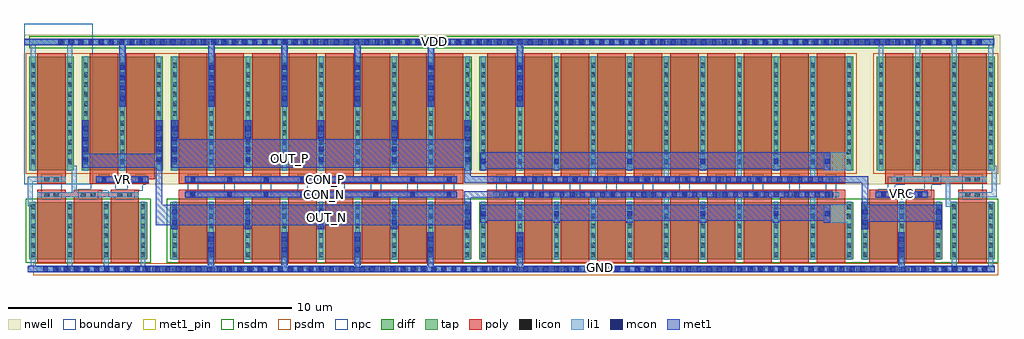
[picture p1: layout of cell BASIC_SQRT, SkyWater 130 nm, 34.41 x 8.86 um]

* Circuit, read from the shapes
.subckt BASIC_SQRT CON_N CON_P GND OUT_N OUT_P VDD VR VRC
XM1 GND VDD GND GND sky130_fd_pr__nfet_01v8 w=2 l=1 m=4
XM2 GND CON_N OUT_N GND sky130_fd_pr__nfet_01v8 w=2 l=1 m=8
XM3 GND OUT_N sky130_fd_pr__nfet_01v8_T8ZRRH_10/D0 GND sky130_fd_pr__nfet_01v8 w=2 l=1 m=2
XM4 OUT_N OUT_N sky130_fd_pr__nfet_01v8_T8ZRRH_10/D0 GND sky130_fd_pr__nfet_01v8 w=2 l=1 m=8
XM5 GND VRC OUT_P GND sky130_fd_pr__nfet_01v8 w=2 l=1 m=2
XM6 VDD GND VDD VDD sky130_fd_pr__pfet_01v8 w=4 l=1 m=4
XM7 VDD VR OUT_N VDD sky130_fd_pr__pfet_01v8 w=4 l=1 m=2
XM8 VDD CON_P OUT_P VDD sky130_fd_pr__pfet_01v8 w=4 l=1 m=8
XM9 VDD OUT_P sky130_fd_pr__pfet_01v8_2YLFS8_13/D0 VDD sky130_fd_pr__pfet_01v8 w=4 l=1 m=2
XM10 OUT_P OUT_P sky130_fd_pr__pfet_01v8_2YLFS8_13/D0 VDD sky130_fd_pr__pfet_01v8 w=4 l=1 m=8
.ends

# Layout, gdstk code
import gdstk
lib = gdstk.Library(unit=1e-6, precision=1e-09)
def R(c, l, rs):  # rectangles x0, y0, x1, y1
    for r in rs: c.add(gdstk.rectangle(r[:2], r[2:], *l))
def A(c, l, x, y, w, h, nx, ny, dx, dy):  # array of equal rectangles
    R(c, l, [(x+i*dx, y+j*dy, x+i*dx+w, y+j*dy+h) for i in range(nx) for j in range(ny)])
nwell = (64, 20)
diff = (65, 20)
tap = (65, 44)
poly = (66, 20)
licon = (66, 44)
li1 = (67, 20)
mcon = (67, 44)
met1_pin = (68, 16)
met1 = (68, 20)
nsdm = (93, 44)
psdm = (94, 20)
npc = (95, 20)
boundary = (235, 4)

sky130_fd_pr__pfet_01v8_ = lib.new_cell('sky130_fd_pr__pfet_01v8_399BBT')

sky130_fd_pr__nfet_01v8_ = lib.new_cell('sky130_fd_pr__nfet_01v8_GLJZMY')

c_sky130_fd_pr__nfet_01v8_ = lib.new_cell('sky130_fd_pr__nfet_01v8_YC5E7B')
R(c_sky130_fd_pr__nfet_01v8_, diff, [(-5.305,-1.155,5.305,0.845)])
A(c_sky130_fd_pr__nfet_01v8_, poly, -5.015, -1.285, 1, 2.405, 8, 1, 1.29, 0)
A(c_sky130_fd_pr__nfet_01v8_, poly, -4.805, 1.12, 0.58, 0.165, 8, 1, 1.29, 0)
A(c_sky130_fd_pr__nfet_01v8_, licon, -5.245, -1.09, 0.17, 0.17, 9, 6, 1.29, 0.34)
A(c_sky130_fd_pr__nfet_01v8_, licon, -4.6, 1.035, 0.17, 0.17, 8, 1, 1.29, 0)
A(c_sky130_fd_pr__nfet_01v8_, li1, -5.245, -1.175, 0.17, 2.04, 9, 1, 1.29, 0)
A(c_sky130_fd_pr__nfet_01v8_, li1, -4.805, 1.035, 0.58, 0.17, 8, 1, 1.29, 0)
A(c_sky130_fd_pr__nfet_01v8_, mcon, -3.955, -0.9, 0.17, 0.17, 4, 2, 2.58, 0.36)
A(c_sky130_fd_pr__nfet_01v8_, mcon, -5.245, 0.06, 0.17, 0.17, 5, 2, 2.58, 0.36)
A(c_sky130_fd_pr__nfet_01v8_, mcon, -4.6, 1.035, 0.17, 0.17, 8, 1, 1.29, 0)
A(c_sky130_fd_pr__nfet_01v8_, met1, -3.985, -1.07, 0.23, 0.87, 4, 1, 2.58, 0)
A(c_sky130_fd_pr__nfet_01v8_, met1, -5.275, -0.11, 0.23, 0.87, 5, 1, 2.58, 0)
A(c_sky130_fd_pr__nfet_01v8_, met1, -4.785, 1.005, 0.54, 0.23, 8, 1, 1.29, 0)
R(c_sky130_fd_pr__nfet_01v8_, nsdm, [(-5.43,-1.28,5.43,0.97)])
A(c_sky130_fd_pr__nfet_01v8_, npc, -4.7, 0.935, 0.37, 0.37, 8, 1, 1.29, 0)
c_sky130_fd_pr__nfet_01v8_.add(gdstk.Label('D0', (-5.16,-0.155), layer=67, texttype=5))
c_sky130_fd_pr__nfet_01v8_.add(gdstk.Label('G0', (-4.515,1.12), layer=67, texttype=5))
c_sky130_fd_pr__nfet_01v8_.add(gdstk.Label('S1', (-3.87,-0.155), layer=67, texttype=5))
c_sky130_fd_pr__nfet_01v8_.add(gdstk.Label('G1', (-3.225,1.12), layer=67, texttype=5))
c_sky130_fd_pr__nfet_01v8_.add(gdstk.Label('D2', (-2.58,-0.155), layer=67, texttype=5))
c_sky130_fd_pr__nfet_01v8_.add(gdstk.Label('G2', (-1.935,1.12), layer=67, texttype=5))
c_sky130_fd_pr__nfet_01v8_.add(gdstk.Label('S3', (-1.29,-0.155), layer=67, texttype=5))
c_sky130_fd_pr__nfet_01v8_.add(gdstk.Label('G3', (-0.645,1.12), layer=67, texttype=5))
c_sky130_fd_pr__nfet_01v8_.add(gdstk.Label('D4', (0,-0.155), layer=67, texttype=5))
c_sky130_fd_pr__nfet_01v8_.add(gdstk.Label('G4', (0.645,1.12), layer=67, texttype=5))
c_sky130_fd_pr__nfet_01v8_.add(gdstk.Label('S5', (1.29,-0.155), layer=67, texttype=5))
c_sky130_fd_pr__nfet_01v8_.add(gdstk.Label('G5', (1.935,1.12), layer=67, texttype=5))
c_sky130_fd_pr__nfet_01v8_.add(gdstk.Label('D6', (2.58,-0.155), layer=67, texttype=5))
c_sky130_fd_pr__nfet_01v8_.add(gdstk.Label('G6', (3.225,1.12), layer=67, texttype=5))
c_sky130_fd_pr__nfet_01v8_.add(gdstk.Label('S7', (3.87,-0.155), layer=67, texttype=5))
c_sky130_fd_pr__nfet_01v8_.add(gdstk.Label('G7', (4.515,1.12), layer=67, texttype=5))

c_sky130_fd_pr__pfet_01v8_ = lib.new_cell('sky130_fd_pr__pfet_01v8_24JSVR')
R(c_sky130_fd_pr__pfet_01v8_, nwell, [(-1.615,-2.32,1.615,2.49)])
R(c_sky130_fd_pr__pfet_01v8_, diff, [(-1.435,-1.82,1.435,2.18)])
R(c_sky130_fd_pr__pfet_01v8_, poly, [(-0.935,-2.305,-0.355,-2.14), (0.355,-2.305,0.935,-2.14), (-1.145,-2.14,-0.145,2.31), (0.145,-2.14,1.145,2.31)])
A(c_sky130_fd_pr__pfet_01v8_, licon, -1.375, -1.605, 0.17, 0.17, 3, 11, 1.29, 0.34)
R(c_sky130_fd_pr__pfet_01v8_, licon, [(-0.73,-2.225,-0.56,-2.055), (0.56,-2.225,0.73,-2.055)])
A(c_sky130_fd_pr__pfet_01v8_, li1, -1.375, -1.84, 0.17, 4.04, 3, 1, 1.29, 0)
R(c_sky130_fd_pr__pfet_01v8_, li1, [(-0.935,-2.225,-0.355,-2.055), (0.355,-2.225,0.935,-2.055)])
A(c_sky130_fd_pr__pfet_01v8_, mcon, -1.375, -1.525, 0.17, 0.17, 1, 4, 0, 0.36)
A(c_sky130_fd_pr__pfet_01v8_, mcon, 1.205, -1.525, 0.17, 0.17, 1, 4, 0, 0.36)
A(c_sky130_fd_pr__pfet_01v8_, mcon, -0.085, 0.635, 0.17, 0.17, 1, 4, 0, 0.36)
R(c_sky130_fd_pr__pfet_01v8_, mcon, [(-0.73,-2.225,-0.56,-2.055), (0.56,-2.225,0.73,-2.055)])
R(c_sky130_fd_pr__pfet_01v8_, met1, [(-0.915,-2.255,-0.375,-2.025), (0.375,-2.255,0.915,-2.025), (-1.405,-1.735,-1.175,-0.065), (1.175,-1.735,1.405,-0.065), (-0.115,0.425,0.115,2.095)])
R(c_sky130_fd_pr__pfet_01v8_, psdm, [(-1.56,-1.945,1.56,2.305)])
R(c_sky130_fd_pr__pfet_01v8_, npc, [(-0.83,-2.325,-0.46,-1.955), (0.46,-2.325,0.83,-1.955)])
c_sky130_fd_pr__pfet_01v8_.add(gdstk.Label('D0', (-1.29,0.18), layer=67, texttype=5))
c_sky130_fd_pr__pfet_01v8_.add(gdstk.Label('G0', (-0.645,-2.14), layer=67, texttype=5))
c_sky130_fd_pr__pfet_01v8_.add(gdstk.Label('S1', (0,0.18), layer=67, texttype=5))
c_sky130_fd_pr__pfet_01v8_.add(gdstk.Label('G1', (0.645,-2.14), layer=67, texttype=5))

c_sky130_fd_pr__pfet_01v8__ = lib.new_cell('sky130_fd_pr__pfet_01v8_DQ37LB')

c_sky130_fd_pr__pfet_01v8___ = lib.new_cell('sky130_fd_pr__pfet_01v8_NG8KZ7')
R(c_sky130_fd_pr__pfet_01v8___, boundary, [(-1.21,-2.83,1.21,2.83)])

c_sky130_fd_pr__pfet_01v8____ = lib.new_cell('sky130_fd_pr__pfet_01v8_TZ8JKT')
R(c_sky130_fd_pr__pfet_01v8____, nwell, [(-0.97,-2.32,0.97,2.49)])
R(c_sky130_fd_pr__pfet_01v8____, diff, [(-0.79,-1.82,0.79,2.18)])
R(c_sky130_fd_pr__pfet_01v8____, poly, [(-0.5,-2.305,0.5,2.31)])
A(c_sky130_fd_pr__pfet_01v8____, licon, -0.73, -1.605, 0.17, 0.17, 1, 11, 0, 0.34)
A(c_sky130_fd_pr__pfet_01v8____, licon, 0.56, -1.605, 0.17, 0.17, 1, 11, 0, 0.34)
R(c_sky130_fd_pr__pfet_01v8____, licon, [(-0.255,-2.225,-0.085,-2.055), (0.085,-2.225,0.255,-2.055)])
R(c_sky130_fd_pr__pfet_01v8____, li1, [(-0.5,-2.225,0.5,-2.055), (-0.73,-1.84,-0.56,2.2), (0.56,-1.84,0.73,2.2)])
R(c_sky130_fd_pr__pfet_01v8____, psdm, [(-0.915,-1.945,0.915,2.305)])
R(c_sky130_fd_pr__pfet_01v8____, npc, [(-0.355,-2.325,0.355,-1.955)])
c_sky130_fd_pr__pfet_01v8____.add(gdstk.Label('D', (-0.645,0.18), layer=67, texttype=5))
c_sky130_fd_pr__pfet_01v8____.add(gdstk.Label('S', (0.645,0.18), layer=67, texttype=5))
c_sky130_fd_pr__pfet_01v8____.add(gdstk.Label('G', (0,-2.14), layer=67, texttype=5))

c_sky130_fd_pr__nfet_01v8__ = lib.new_cell('sky130_fd_pr__nfet_01v8_HGCKFQ')
R(c_sky130_fd_pr__nfet_01v8__, diff, [(-2.08,-1.155,2.08,0.845)])
A(c_sky130_fd_pr__nfet_01v8__, poly, -1.79, -1.285, 1, 2.57, 3, 1, 1.29, 0)
A(c_sky130_fd_pr__nfet_01v8__, licon, -2.02, -1.09, 0.17, 0.17, 4, 6, 1.29, 0.34)
R(c_sky130_fd_pr__nfet_01v8__, licon, [(-1.545,1.035,-1.375,1.205), (-1.205,1.035,-1.035,1.205), (-0.255,1.035,-0.085,1.205), (0.085,1.035,0.255,1.205), (1.035,1.035,1.205,1.205), (1.375,1.035,1.545,1.205)])
A(c_sky130_fd_pr__nfet_01v8__, li1, -2.02, -1.175, 0.17, 2.04, 4, 1, 1.29, 0)
A(c_sky130_fd_pr__nfet_01v8__, li1, -1.79, 1.035, 1, 0.17, 3, 1, 1.29, 0)
R(c_sky130_fd_pr__nfet_01v8__, nsdm, [(-2.205,-1.28,2.205,0.97)])
A(c_sky130_fd_pr__nfet_01v8__, npc, -1.645, 0.935, 0.71, 0.37, 3, 1, 1.29, 0)
c_sky130_fd_pr__nfet_01v8__.add(gdstk.Label('D0', (-1.935,-0.155), layer=67, texttype=5))
c_sky130_fd_pr__nfet_01v8__.add(gdstk.Label('G0', (-1.29,1.12), layer=67, texttype=5))
c_sky130_fd_pr__nfet_01v8__.add(gdstk.Label('S1', (-0.645,-0.155), layer=67, texttype=5))
c_sky130_fd_pr__nfet_01v8__.add(gdstk.Label('G1', (0,1.12), layer=67, texttype=5))
c_sky130_fd_pr__nfet_01v8__.add(gdstk.Label('D2', (0.645,-0.155), layer=67, texttype=5))
c_sky130_fd_pr__nfet_01v8__.add(gdstk.Label('S2', (1.935,-0.155), layer=67, texttype=5))
c_sky130_fd_pr__nfet_01v8__.add(gdstk.Label('G2', (1.29,1.12), layer=67, texttype=5))

c_sky130_fd_pr__pfet_01v8_____ = lib.new_cell('sky130_fd_pr__pfet_01v8_2Q6GVR')
R(c_sky130_fd_pr__pfet_01v8_____, nwell, [(-5.485,-2.32,5.485,2.49)])
R(c_sky130_fd_pr__pfet_01v8_____, diff, [(-5.305,-1.82,5.305,2.18)])
A(c_sky130_fd_pr__pfet_01v8_____, poly, -4.805, -2.305, 0.58, 0.165, 8, 1, 1.29, 0)
A(c_sky130_fd_pr__pfet_01v8_____, poly, -5.015, -2.14, 1, 4.45, 8, 1, 1.29, 0)
A(c_sky130_fd_pr__pfet_01v8_____, licon, -4.6, -2.225, 0.17, 0.17, 8, 1, 1.29, 0)
A(c_sky130_fd_pr__pfet_01v8_____, licon, -5.245, -1.605, 0.17, 0.17, 9, 11, 1.29, 0.34)
A(c_sky130_fd_pr__pfet_01v8_____, li1, -4.805, -2.225, 0.58, 0.17, 8, 1, 1.29, 0)
A(c_sky130_fd_pr__pfet_01v8_____, li1, -5.245, -1.84, 0.17, 4.04, 9, 1, 1.29, 0)
A(c_sky130_fd_pr__pfet_01v8_____, mcon, -4.6, -2.225, 0.17, 0.17, 8, 1, 1.29, 0)
A(c_sky130_fd_pr__pfet_01v8_____, mcon, -5.245, -1.525, 0.17, 0.17, 5, 4, 2.58, 0.36)
A(c_sky130_fd_pr__pfet_01v8_____, mcon, -3.955, 0.635, 0.17, 0.17, 4, 4, 2.58, 0.36)
A(c_sky130_fd_pr__pfet_01v8_____, met1, -4.785, -2.255, 0.54, 0.23, 8, 1, 1.29, 0)
A(c_sky130_fd_pr__pfet_01v8_____, met1, -5.275, -1.735, 0.23, 1.67, 5, 1, 2.58, 0)
A(c_sky130_fd_pr__pfet_01v8_____, met1, -3.985, 0.425, 0.23, 1.67, 4, 1, 2.58, 0)
R(c_sky130_fd_pr__pfet_01v8_____, psdm, [(-5.43,-1.945,5.43,2.305)])
A(c_sky130_fd_pr__pfet_01v8_____, npc, -4.7, -2.325, 0.37, 0.37, 8, 1, 1.29, 0)
c_sky130_fd_pr__pfet_01v8_____.add(gdstk.Label('D0', (-5.16,0.18), layer=67, texttype=5))
c_sky130_fd_pr__pfet_01v8_____.add(gdstk.Label('G0', (-4.515,-2.14), layer=67, texttype=5))
c_sky130_fd_pr__pfet_01v8_____.add(gdstk.Label('S1', (-3.87,0.18), layer=67, texttype=5))
c_sky130_fd_pr__pfet_01v8_____.add(gdstk.Label('G1', (-3.225,-2.14), layer=67, texttype=5))
c_sky130_fd_pr__pfet_01v8_____.add(gdstk.Label('D2', (-2.58,0.18), layer=67, texttype=5))
c_sky130_fd_pr__pfet_01v8_____.add(gdstk.Label('G2', (-1.935,-2.14), layer=67, texttype=5))
c_sky130_fd_pr__pfet_01v8_____.add(gdstk.Label('S3', (-1.29,0.18), layer=67, texttype=5))
c_sky130_fd_pr__pfet_01v8_____.add(gdstk.Label('G3', (-0.645,-2.14), layer=67, texttype=5))
c_sky130_fd_pr__pfet_01v8_____.add(gdstk.Label('D4', (0,0.18), layer=67, texttype=5))
c_sky130_fd_pr__pfet_01v8_____.add(gdstk.Label('G4', (0.645,-2.14), layer=67, texttype=5))
c_sky130_fd_pr__pfet_01v8_____.add(gdstk.Label('S5', (1.29,0.18), layer=67, texttype=5))
c_sky130_fd_pr__pfet_01v8_____.add(gdstk.Label('G5', (1.935,-2.14), layer=67, texttype=5))
c_sky130_fd_pr__pfet_01v8_____.add(gdstk.Label('D6', (2.58,0.18), layer=67, texttype=5))
c_sky130_fd_pr__pfet_01v8_____.add(gdstk.Label('G6', (3.225,-2.14), layer=67, texttype=5))
c_sky130_fd_pr__pfet_01v8_____.add(gdstk.Label('S7', (3.87,0.18), layer=67, texttype=5))
c_sky130_fd_pr__pfet_01v8_____.add(gdstk.Label('G7', (4.515,-2.14), layer=67, texttype=5))

c_sky130_fd_pr__nfet_01v8___ = lib.new_cell('sky130_fd_pr__nfet_01v8_T8ZRRH')
R(c_sky130_fd_pr__nfet_01v8___, diff, [(-5.305,-1.155,5.305,0.845)])
A(c_sky130_fd_pr__nfet_01v8___, poly, -5.015, -1.285, 1, 2.405, 8, 1, 1.29, 0)
A(c_sky130_fd_pr__nfet_01v8___, poly, -4.805, 1.12, 0.58, 0.165, 8, 1, 1.29, 0)
A(c_sky130_fd_pr__nfet_01v8___, licon, -5.245, -1.09, 0.17, 0.17, 9, 6, 1.29, 0.34)
A(c_sky130_fd_pr__nfet_01v8___, licon, -4.6, 1.035, 0.17, 0.17, 8, 1, 1.29, 0)
A(c_sky130_fd_pr__nfet_01v8___, li1, -5.245, -1.175, 0.17, 2.04, 9, 1, 1.29, 0)
A(c_sky130_fd_pr__nfet_01v8___, li1, -4.805, 1.035, 0.58, 0.17, 8, 1, 1.29, 0)
R(c_sky130_fd_pr__nfet_01v8___, nsdm, [(-5.43,-1.28,5.43,0.97)])
A(c_sky130_fd_pr__nfet_01v8___, npc, -4.7, 0.935, 0.37, 0.37, 8, 1, 1.29, 0)
c_sky130_fd_pr__nfet_01v8___.add(gdstk.Label('D0', (-5.16,-0.155), layer=67, texttype=5))
c_sky130_fd_pr__nfet_01v8___.add(gdstk.Label('G0', (-4.515,1.12), layer=67, texttype=5))
c_sky130_fd_pr__nfet_01v8___.add(gdstk.Label('S1', (-3.87,-0.155), layer=67, texttype=5))
c_sky130_fd_pr__nfet_01v8___.add(gdstk.Label('G1', (-3.225,1.12), layer=67, texttype=5))
c_sky130_fd_pr__nfet_01v8___.add(gdstk.Label('D2', (-2.58,-0.155), layer=67, texttype=5))
c_sky130_fd_pr__nfet_01v8___.add(gdstk.Label('G2', (-1.935,1.12), layer=67, texttype=5))
c_sky130_fd_pr__nfet_01v8___.add(gdstk.Label('S3', (-1.29,-0.155), layer=67, texttype=5))
c_sky130_fd_pr__nfet_01v8___.add(gdstk.Label('G3', (-0.645,1.12), layer=67, texttype=5))
c_sky130_fd_pr__nfet_01v8___.add(gdstk.Label('D4', (0,-0.155), layer=67, texttype=5))
c_sky130_fd_pr__nfet_01v8___.add(gdstk.Label('G4', (0.645,1.12), layer=67, texttype=5))
c_sky130_fd_pr__nfet_01v8___.add(gdstk.Label('S5', (1.29,-0.155), layer=67, texttype=5))
c_sky130_fd_pr__nfet_01v8___.add(gdstk.Label('G5', (1.935,1.12), layer=67, texttype=5))
c_sky130_fd_pr__nfet_01v8___.add(gdstk.Label('D6', (2.58,-0.155), layer=67, texttype=5))
c_sky130_fd_pr__nfet_01v8___.add(gdstk.Label('G6', (3.225,1.12), layer=67, texttype=5))
c_sky130_fd_pr__nfet_01v8___.add(gdstk.Label('S7', (3.87,-0.155), layer=67, texttype=5))
c_sky130_fd_pr__nfet_01v8___.add(gdstk.Label('G7', (4.515,1.12), layer=67, texttype=5))

c_sky130_fd_pr__nfet_01v8____ = lib.new_cell('sky130_fd_pr__nfet_01v8_TFB3AH')
R(c_sky130_fd_pr__nfet_01v8____, diff, [(-1.435,-1.155,1.435,0.845)])
R(c_sky130_fd_pr__nfet_01v8____, poly, [(-1.145,-1.285,-0.145,1.12), (0.145,-1.285,1.145,1.12), (-0.935,1.12,-0.355,1.285), (0.355,1.12,0.935,1.285)])
A(c_sky130_fd_pr__nfet_01v8____, licon, -1.375, -1.09, 0.17, 0.17, 3, 6, 1.29, 0.34)
R(c_sky130_fd_pr__nfet_01v8____, licon, [(-0.73,1.035,-0.56,1.205), (0.56,1.035,0.73,1.205)])
A(c_sky130_fd_pr__nfet_01v8____, li1, -1.375, -1.175, 0.17, 2.04, 3, 1, 1.29, 0)
R(c_sky130_fd_pr__nfet_01v8____, li1, [(-0.935,1.035,-0.355,1.205), (0.355,1.035,0.935,1.205)])
R(c_sky130_fd_pr__nfet_01v8____, mcon, [(-0.085,-0.9,0.085,-0.73), (-0.085,-0.54,0.085,-0.37)])
R(c_sky130_fd_pr__nfet_01v8____, met1, [(-0.115,-1.07,0.115,-0.2)])
R(c_sky130_fd_pr__nfet_01v8____, nsdm, [(-1.56,-1.28,1.56,0.97)])
R(c_sky130_fd_pr__nfet_01v8____, npc, [(-0.83,0.935,-0.46,1.305), (0.46,0.935,0.83,1.305)])
c_sky130_fd_pr__nfet_01v8____.add(gdstk.Label('D0', (-1.29,-0.155), layer=67, texttype=5))
c_sky130_fd_pr__nfet_01v8____.add(gdstk.Label('G0', (-0.645,1.12), layer=67, texttype=5))
c_sky130_fd_pr__nfet_01v8____.add(gdstk.Label('S1', (0,-0.155), layer=67, texttype=5))
c_sky130_fd_pr__nfet_01v8____.add(gdstk.Label('G1', (0.645,1.12), layer=67, texttype=5))

c_sky130_fd_pr__pfet_01v8______ = lib.new_cell('sky130_fd_pr__pfet_01v8_BGGETK')
R(c_sky130_fd_pr__pfet_01v8______, nwell, [(-5.485,-2.32,5.485,2.49)])
R(c_sky130_fd_pr__pfet_01v8______, diff, [(-5.305,-1.82,5.305,2.18)])
A(c_sky130_fd_pr__pfet_01v8______, poly, -4.805, -2.305, 0.58, 0.165, 8, 1, 1.29, 0)
A(c_sky130_fd_pr__pfet_01v8______, poly, -5.015, -2.14, 1, 4.45, 8, 1, 1.29, 0)
A(c_sky130_fd_pr__pfet_01v8______, licon, -4.6, -2.225, 0.17, 0.17, 8, 1, 1.29, 0)
A(c_sky130_fd_pr__pfet_01v8______, licon, -5.245, -1.605, 0.17, 0.17, 9, 11, 1.29, 0.34)
A(c_sky130_fd_pr__pfet_01v8______, li1, -4.805, -2.225, 0.58, 0.17, 8, 1, 1.29, 0)
A(c_sky130_fd_pr__pfet_01v8______, li1, -5.245, -1.84, 0.17, 4.04, 9, 1, 1.29, 0)
R(c_sky130_fd_pr__pfet_01v8______, psdm, [(-5.43,-1.945,5.43,2.305)])
A(c_sky130_fd_pr__pfet_01v8______, npc, -4.7, -2.325, 0.37, 0.37, 8, 1, 1.29, 0)
c_sky130_fd_pr__pfet_01v8______.add(gdstk.Label('D0', (-5.16,0.18), layer=67, texttype=5))
c_sky130_fd_pr__pfet_01v8______.add(gdstk.Label('G0', (-4.515,-2.14), layer=67, texttype=5))
c_sky130_fd_pr__pfet_01v8______.add(gdstk.Label('S1', (-3.87,0.18), layer=67, texttype=5))
c_sky130_fd_pr__pfet_01v8______.add(gdstk.Label('G1', (-3.225,-2.14), layer=67, texttype=5))
c_sky130_fd_pr__pfet_01v8______.add(gdstk.Label('D2', (-2.58,0.18), layer=67, texttype=5))
c_sky130_fd_pr__pfet_01v8______.add(gdstk.Label('G2', (-1.935,-2.14), layer=67, texttype=5))
c_sky130_fd_pr__pfet_01v8______.add(gdstk.Label('S3', (-1.29,0.18), layer=67, texttype=5))
c_sky130_fd_pr__pfet_01v8______.add(gdstk.Label('G3', (-0.645,-2.14), layer=67, texttype=5))
c_sky130_fd_pr__pfet_01v8______.add(gdstk.Label('D4', (0,0.18), layer=67, texttype=5))
c_sky130_fd_pr__pfet_01v8______.add(gdstk.Label('G4', (0.645,-2.14), layer=67, texttype=5))
c_sky130_fd_pr__pfet_01v8______.add(gdstk.Label('S5', (1.29,0.18), layer=67, texttype=5))
c_sky130_fd_pr__pfet_01v8______.add(gdstk.Label('G5', (1.935,-2.14), layer=67, texttype=5))
c_sky130_fd_pr__pfet_01v8______.add(gdstk.Label('D6', (2.58,0.18), layer=67, texttype=5))
c_sky130_fd_pr__pfet_01v8______.add(gdstk.Label('G6', (3.225,-2.14), layer=67, texttype=5))
c_sky130_fd_pr__pfet_01v8______.add(gdstk.Label('S7', (3.87,0.18), layer=67, texttype=5))
c_sky130_fd_pr__pfet_01v8______.add(gdstk.Label('G7', (4.515,-2.14), layer=67, texttype=5))

c_sky130_fd_pr__pfet_01v8_______ = lib.new_cell('sky130_fd_pr__pfet_01v8_2YLFS8')
R(c_sky130_fd_pr__pfet_01v8_______, nwell, [(-1.615,-2.32,1.615,2.49)])
R(c_sky130_fd_pr__pfet_01v8_______, diff, [(-1.435,-1.82,1.435,2.18)])
R(c_sky130_fd_pr__pfet_01v8_______, poly, [(-0.935,-2.305,-0.355,-2.14), (0.355,-2.305,0.935,-2.14), (-1.145,-2.14,-0.145,2.31), (0.145,-2.14,1.145,2.31)])
A(c_sky130_fd_pr__pfet_01v8_______, licon, -1.375, -1.605, 0.17, 0.17, 3, 11, 1.29, 0.34)
R(c_sky130_fd_pr__pfet_01v8_______, licon, [(-0.73,-2.225,-0.56,-2.055), (0.56,-2.225,0.73,-2.055)])
A(c_sky130_fd_pr__pfet_01v8_______, li1, -1.375, -1.84, 0.17, 4.04, 3, 1, 1.29, 0)
R(c_sky130_fd_pr__pfet_01v8_______, li1, [(-0.935,-2.225,-0.355,-2.055), (0.355,-2.225,0.935,-2.055)])
A(c_sky130_fd_pr__pfet_01v8_______, mcon, -0.085, 0.635, 0.17, 0.17, 1, 4, 0, 0.36)
R(c_sky130_fd_pr__pfet_01v8_______, met1, [(-0.115,0.425,0.115,2.095)])
R(c_sky130_fd_pr__pfet_01v8_______, psdm, [(-1.56,-1.945,1.56,2.305)])
R(c_sky130_fd_pr__pfet_01v8_______, npc, [(-0.83,-2.325,-0.46,-1.955), (0.46,-2.325,0.83,-1.955)])
c_sky130_fd_pr__pfet_01v8_______.add(gdstk.Label('D0', (-1.29,0.18), layer=67, texttype=5))
c_sky130_fd_pr__pfet_01v8_______.add(gdstk.Label('G0', (-0.645,-2.14), layer=67, texttype=5))
c_sky130_fd_pr__pfet_01v8_______.add(gdstk.Label('S1', (0,0.18), layer=67, texttype=5))
c_sky130_fd_pr__pfet_01v8_______.add(gdstk.Label('G1', (0.645,-2.14), layer=67, texttype=5))

c_sky130_fd_pr__nfet_01v8_____ = lib.new_cell('sky130_fd_pr__nfet_01v8_3EFRP4')
R(c_sky130_fd_pr__nfet_01v8_____, diff, [(-1.435,-1.155,1.435,0.845)])
R(c_sky130_fd_pr__nfet_01v8_____, poly, [(-1.145,-1.285,-0.145,1.12), (0.145,-1.285,1.145,1.12), (-0.935,1.12,-0.355,1.285), (0.355,1.12,0.935,1.285)])
A(c_sky130_fd_pr__nfet_01v8_____, licon, -1.375, -1.09, 0.17, 0.17, 3, 6, 1.29, 0.34)
R(c_sky130_fd_pr__nfet_01v8_____, licon, [(-0.73,1.035,-0.56,1.205), (0.56,1.035,0.73,1.205)])
A(c_sky130_fd_pr__nfet_01v8_____, li1, -1.375, -1.175, 0.17, 2.04, 3, 1, 1.29, 0)
R(c_sky130_fd_pr__nfet_01v8_____, li1, [(-0.935,1.035,-0.355,1.205), (0.355,1.035,0.935,1.205)])
R(c_sky130_fd_pr__nfet_01v8_____, mcon, [(-0.085,-0.9,0.085,-0.73), (-0.085,-0.54,0.085,-0.37), (-1.375,0.06,-1.205,0.23), (1.205,0.06,1.375,0.23), (-1.375,0.42,-1.205,0.59), (1.205,0.42,1.375,0.59), (-0.73,1.035,-0.56,1.205), (0.56,1.035,0.73,1.205)])
R(c_sky130_fd_pr__nfet_01v8_____, met1, [(-0.115,-1.07,0.115,-0.2), (-1.405,-0.11,-1.175,0.76), (1.175,-0.11,1.405,0.76), (-0.915,1.005,-0.375,1.235), (0.375,1.005,0.915,1.235)])
R(c_sky130_fd_pr__nfet_01v8_____, nsdm, [(-1.56,-1.28,1.56,0.97)])
R(c_sky130_fd_pr__nfet_01v8_____, npc, [(-0.83,0.935,-0.46,1.305), (0.46,0.935,0.83,1.305)])
c_sky130_fd_pr__nfet_01v8_____.add(gdstk.Label('D0', (-1.29,-0.155), layer=67, texttype=5))
c_sky130_fd_pr__nfet_01v8_____.add(gdstk.Label('G0', (-0.645,1.12), layer=67, texttype=5))
c_sky130_fd_pr__nfet_01v8_____.add(gdstk.Label('S1', (0,-0.155), layer=67, texttype=5))
c_sky130_fd_pr__nfet_01v8_____.add(gdstk.Label('G1', (0.645,1.12), layer=67, texttype=5))

c_sky130_fd_pr__pfet_01v8________ = lib.new_cell('sky130_fd_pr__pfet_01v8_2NSSVR')

c_sky130_fd_pr__pfet_01v8_________ = lib.new_cell('sky130_fd_pr__pfet_01v8_AQ3V6E')
R(c_sky130_fd_pr__pfet_01v8_________, nwell, [(-1.615,-2.32,1.615,2.49)])
R(c_sky130_fd_pr__pfet_01v8_________, diff, [(-1.435,-1.82,1.435,2.18)])
R(c_sky130_fd_pr__pfet_01v8_________, poly, [(-0.935,-2.305,-0.355,-2.14), (0.355,-2.305,0.935,-2.14), (-1.145,-2.14,-0.145,2.31), (0.145,-2.14,1.145,2.31)])
A(c_sky130_fd_pr__pfet_01v8_________, licon, -1.375, -1.605, 0.17, 0.17, 3, 11, 1.29, 0.34)
R(c_sky130_fd_pr__pfet_01v8_________, licon, [(-0.73,-2.225,-0.56,-2.055), (0.56,-2.225,0.73,-2.055)])
A(c_sky130_fd_pr__pfet_01v8_________, li1, -1.375, -1.84, 0.17, 4.04, 3, 1, 1.29, 0)
R(c_sky130_fd_pr__pfet_01v8_________, li1, [(-0.935,-2.225,-0.355,-2.055), (0.355,-2.225,0.935,-2.055)])
R(c_sky130_fd_pr__pfet_01v8_________, psdm, [(-1.56,-1.945,1.56,2.305)])
R(c_sky130_fd_pr__pfet_01v8_________, npc, [(-0.83,-2.325,-0.46,-1.955), (0.46,-2.325,0.83,-1.955)])
c_sky130_fd_pr__pfet_01v8_________.add(gdstk.Label('D0', (-1.29,0.18), layer=67, texttype=5))
c_sky130_fd_pr__pfet_01v8_________.add(gdstk.Label('G0', (-0.645,-2.14), layer=67, texttype=5))
c_sky130_fd_pr__pfet_01v8_________.add(gdstk.Label('S1', (0,0.18), layer=67, texttype=5))
c_sky130_fd_pr__pfet_01v8_________.add(gdstk.Label('G1', (0.645,-2.14), layer=67, texttype=5))

c_sky130_fd_pr__nfet_01v8______ = lib.new_cell('sky130_fd_pr__nfet_01v8_3H4BCP')
R(c_sky130_fd_pr__nfet_01v8______, diff, [(-0.79,-1.155,0.79,0.845)])
R(c_sky130_fd_pr__nfet_01v8______, poly, [(-0.5,-1.285,0.5,1.285)])
A(c_sky130_fd_pr__nfet_01v8______, licon, -0.73, -1.09, 0.17, 0.17, 1, 6, 0, 0.34)
A(c_sky130_fd_pr__nfet_01v8______, licon, 0.56, -1.09, 0.17, 0.17, 1, 6, 0, 0.34)
R(c_sky130_fd_pr__nfet_01v8______, licon, [(-0.255,1.035,-0.085,1.205), (0.085,1.035,0.255,1.205)])
R(c_sky130_fd_pr__nfet_01v8______, li1, [(-0.73,-1.175,-0.56,0.865), (0.56,-1.175,0.73,0.865), (-0.5,1.035,0.5,1.205)])
R(c_sky130_fd_pr__nfet_01v8______, nsdm, [(-0.915,-1.28,0.915,0.97)])
R(c_sky130_fd_pr__nfet_01v8______, npc, [(-0.355,0.935,0.355,1.305)])
c_sky130_fd_pr__nfet_01v8______.add(gdstk.Label('D', (-0.645,-0.155), layer=67, texttype=5))
c_sky130_fd_pr__nfet_01v8______.add(gdstk.Label('S', (0.645,-0.155), layer=67, texttype=5))
c_sky130_fd_pr__nfet_01v8______.add(gdstk.Label('G', (0,1.12), layer=67, texttype=5))

c_sky130_fd_pr__nfet_01v8_______ = lib.new_cell('sky130_fd_pr__nfet_01v8_HBP5CQ')

c_sky130_fd_pr__pfet_01v8__________ = lib.new_cell('sky130_fd_pr__pfet_01v8_2AX7UR')

c_sky130_fd_pr__pfet_01v8___________ = lib.new_cell('sky130_fd_pr__pfet_01v8_TZLHXU')

basic_sqrt = lib.new_cell('BASIC_SQRT')
R(basic_sqrt, nwell, [(60.05,9.275,72.245,9.37), (43.315,9.29,52.715,9.515), (53.01,9.29,53.345,9.515), (54.195,9.29,54.53,9.515), (38.06,9.37,38.38,9.54), (54.905,9.37,72.245,9.54), (40.405,9.4,42.21,9.68), (43.525,9.515,52.715,9.57), (57.835,9.54,58.005,9.775), (60.05,9.54,72.245,12.41), (39.385,9.755,39.6,9.925), (37.855,12.41,72.265,13.975), (37.855,13.975,72.245,14.055), (37.855,14.055,72.265,14.555)])
R(basic_sqrt, tap, [(38.31,6.2,72.085,6.37), (38.165,14.205,71.92,14.375)])
R(basic_sqrt, poly, [(43.54,8.8,53.075,8.855), (68.365,8.8,69.185,9.03), (38.325,8.83,40.975,9), (54.405,8.83,66.13,8.855), (43.31,8.855,53.34,9.08), (54.195,8.855,66.13,9.08), (66.47,8.855,66.805,9.08), (67.655,8.855,67.99,9.08), (69.61,8.855,69.945,9.08), (68.365,9.03,69.18,9.08), (40.175,9.29,41.98,9.57), (43.315,9.29,52.715,9.515), (53.01,9.29,53.345,9.515), (54.195,9.29,66.13,9.515), (66.47,9.29,66.805,9.515), (68.215,9.29,71.795,9.56), (43.525,9.515,52.715,9.57), (54.405,9.515,66.13,9.54)])
A(basic_sqrt, licon, 38.98, 6.2, 0.17, 0.17, 97, 1, 0.34, 0)
A(basic_sqrt, licon, 39.11, 14.205, 0.17, 0.17, 96, 1, 0.34, 0)
A(basic_sqrt, li1, 53.965, 7.985, 0.17, 0.51, 5, 2, 2.58, 1.85)
A(basic_sqrt, li1, 46.955, 13.775, 0.17, 0.43, 3, 1, 2.58, 0)
R(basic_sqrt, li1, [(37.99,6.2,72.085,6.37), (38.095,6.37,38.265,6.755), (39.385,6.37,39.555,6.73), (40.675,6.37,40.845,6.755), (41.965,6.37,42.135,6.73), (44.37,6.37,44.54,6.72), (46.95,6.37,47.12,6.805), (49.53,6.37,49.7,6.75), (52.11,6.37,52.28,6.795), (55.255,6.37,55.425,6.745), (68.715,6.37,68.885,6.755), (70.565,6.37,70.735,6.785), (71.855,6.37,72.025,6.75), (66.05,7.925,66.935,8.555), (70.345,8.49,70.715,8.66), (37.985,8.5,38.155,9.37), (65.575,8.605,65.745,8.83), (62.995,8.63,63.165,8.83), (60.415,8.645,60.585,8.83), (57.835,8.65,58.005,8.83), (70.345,8.66,70.515,9.37), (38.325,8.83,40.975,9), (44.02,8.83,52.57,9), (54.905,8.83,66.3,9), (68.365,8.83,69.165,9), (71.715,8.83,72.145,9), (39.54,9,39.71,9.755), (71.975,9,72.145,9.755), (37.985,9.37,38.38,9.54), (40.405,9.37,41.71,9.54), (44.025,9.37,52.57,9.54), (54.905,9.37,66.165,9.54), (68.925,9.37,70.825,9.54), (57.835,9.54,58.005,9.775), (60.415,9.54,60.585,9.78), (62.995,9.54,63.165,9.815), (65.575,9.54,65.745,9.79), (39.385,9.755,39.71,9.925), (71.855,9.755,72.145,9.925), (66.05,9.775,66.935,10.405), (44.375,13.72,44.545,14.205), (38.095,13.73,38.265,14.205), (70.565,13.745,70.735,14.205), (41.235,13.75,41.405,14.205), (69.275,13.75,69.445,14.205), (67.985,13.755,68.155,14.205), (39.385,13.765,39.555,14.205), (71.855,13.765,72.025,14.205), (55.255,13.77,55.425,14.205), (37.87,14.205,72.025,14.375)])
A(basic_sqrt, mcon, 38.53, 6.2, 0.17, 0.17, 93, 1, 0.36, 0)
A(basic_sqrt, mcon, 53.965, 8.155, 0.17, 0.17, 5, 2, 2.58, 1.85)
A(basic_sqrt, mcon, 54.935, 8.83, 0.17, 0.17, 32, 1, 0.36, 0)
A(basic_sqrt, mcon, 55.05, 9.37, 0.17, 0.17, 31, 1, 0.36, 0)
A(basic_sqrt, mcon, 39.055, 14.205, 0.17, 0.17, 91, 1, 0.36, 0)
R(basic_sqrt, mcon, [(66.08,8.155,66.25,8.325), (66.08,10.005,66.25,10.175)])
R(basic_sqrt, met1_pin, [(57.67,6.295,58.67,6.4), (48.01,8.055,49.01,8.185), (47.94,8.87,48.94,8.99), (68.515,8.885,69.07,8.99), (47.97,9.39,48.97,9.505), (40.965,9.4,41.675,9.475), (46.73,10.14,47.73,10.215), (51.82,14.26,52.82,14.355)])
A(basic_sqrt, met1, 53.935, 7.925, 0.23, 0.06, 5, 2, 2.58, 1.85)
R(basic_sqrt, met1, [(37.985,6.17,72.085,6.4), (44.34,6.4,44.57,6.75), (46.92,6.4,47.15,6.765), (49.5,6.4,49.73,6.765), (52.08,6.4,52.31,6.785), (55.225,6.4,55.455,6.77), (68.685,6.4,68.915,6.745), (42.5,7.835,53.6,8.555), (66.05,7.925,66.28,7.985), (67.395,7.96,70.205,8.555), (53.935,7.985,66.28,8.555), (42.5,8.555,42.725,9.86), (53.37,8.555,53.6,8.8), (67.395,8.555,67.625,9.34), (44.02,8.8,52.69,9.03), (53.37,8.8,66.36,9.03), (68.365,8.8,69.185,9.03), (40.87,9.34,41.705,9.57), (44.025,9.34,52.65,9.57), (53.375,9.34,67.625,9.57), (53.375,9.57,53.605,9.86), (66.05,9.775,66.28,9.835), (53.935,9.835,66.28,10.405), (39.92,9.86,42.725,10.355), (43.055,9.86,53.605,10.86), (55.225,13.58,55.455,14.175), (41.205,13.665,41.435,14.175), (52.085,13.665,52.315,14.175), (46.925,13.67,47.155,14.175), (49.505,13.68,49.735,14.175), (44.345,13.685,44.575,14.175), (37.855,14.175,72.07,14.405)])
R(basic_sqrt, nsdm, [(53.755,6.515,53.78,8.765), (67.22,6.515,67.24,8.765), (70.36,6.515,70.38,8.765), (38.04,14.08,72.045,14.5)])
R(basic_sqrt, psdm, [(38.185,6.075,72.21,6.495), (39.74,9.65,39.76,13.9), (42.88,9.65,42.9,13.9), (53.76,9.65,53.78,13.9)])
A(basic_sqrt, npc, 43.63, 9.1, 0.365, 0.17, 8, 1, 1.29, 0)
A(basic_sqrt, npc, 54.51, 9.1, 0.37, 0.17, 10, 1, 1.29, 0)
R(basic_sqrt, npc, [(40.82,8.83,41.05,9.05), (68.34,8.83,68.57,9.1), (69.63,8.83,69.86,9.1), (40.47,9.05,41.05,9.1), (41.76,9.05,42.05,9.1), (38.47,9.1,39.18,9.27), (40.2,9.1,41.09,9.27), (41.49,9.1,42.05,9.27), (68.3,9.1,68.57,9.27), (69.59,9.1,69.86,9.27), (70.94,9.1,71.65,9.27), (40.2,9.27,40.49,9.32), (40.86,9.27,41.09,9.54), (41.49,9.27,41.78,9.32), (68.3,9.27,68.53,9.54), (69.59,9.27,69.82,9.54)])
basic_sqrt.add(gdstk.Reference(sky130_fd_pr__pfet_01v8_, (23.91,-15.59)))
basic_sqrt.add(gdstk.Reference(sky130_fd_pr__nfet_01v8_, (75.975,-16.65)))
basic_sqrt.add(gdstk.Reference(c_sky130_fd_pr__nfet_01v8_, (48.325,7.795)))
basic_sqrt.add(gdstk.Reference(c_sky130_fd_pr__pfet_01v8_, (41.32,11.595)))
basic_sqrt.add(gdstk.Reference(c_sky130_fd_pr__pfet_01v8__, (37.855,9.275)))
basic_sqrt.add(gdstk.Reference(c_sky130_fd_pr__pfet_01v8__, (35.75,11.71)))
basic_sqrt.add(gdstk.Reference(c_sky130_fd_pr__pfet_01v8___, (39.07,12.105)))
basic_sqrt.add(gdstk.Reference(c_sky130_fd_pr__pfet_01v8____, (38.825,11.595)))
basic_sqrt.add(gdstk.Reference(c_sky130_fd_pr__nfet_01v8__, (40.115,7.795)))
basic_sqrt.add(gdstk.Reference(c_sky130_fd_pr__pfet_01v8_____, (48.33,11.595)))
basic_sqrt.add(gdstk.Reference(c_sky130_fd_pr__nfet_01v8___, (61.79,7.795)))
basic_sqrt.add(gdstk.Reference(c_sky130_fd_pr__nfet_01v8____, (55.34,7.795)))
basic_sqrt.add(gdstk.Reference(c_sky130_fd_pr__pfet_01v8______, (61.79,11.595)))
basic_sqrt.add(gdstk.Reference(c_sky130_fd_pr__pfet_01v8_______, (55.34,11.595)))
basic_sqrt.add(gdstk.Reference(c_sky130_fd_pr__nfet_01v8_____, (68.8,7.795)))
basic_sqrt.add(gdstk.Reference(c_sky130_fd_pr__pfet_01v8________, (67.745,9.855)))
basic_sqrt.add(gdstk.Reference(c_sky130_fd_pr__pfet_01v8_________, (69.36,11.595)))
basic_sqrt.add(gdstk.Reference(c_sky130_fd_pr__nfet_01v8______, (71.295,7.795)))
basic_sqrt.add(gdstk.Reference(c_sky130_fd_pr__nfet_01v8_______, (71.525,6.495)))
basic_sqrt.add(gdstk.Reference(c_sky130_fd_pr__pfet_01v8__________, (73.35,11.155)))
basic_sqrt.add(gdstk.Reference(c_sky130_fd_pr__pfet_01v8__, (70.325,9.275)))
basic_sqrt.add(gdstk.Reference(c_sky130_fd_pr__pfet_01v8__, (72.83,9.035)))
basic_sqrt.add(gdstk.Reference(c_sky130_fd_pr__pfet_01v8____, (71.295,11.595)))
basic_sqrt.add(gdstk.Reference(c_sky130_fd_pr__pfet_01v8___________, (68.015,9.735)))
basic_sqrt.add(gdstk.Label('VR', (41.32,9.437), layer=68, texttype=5))
basic_sqrt.add(gdstk.Label('OUT_N', (48.51,8.12), layer=68, texttype=5))
basic_sqrt.add(gdstk.Label('CON_P', (48.47,9.447), layer=68, texttype=5))
basic_sqrt.add(gdstk.Label('CON_N', (48.44,8.93), layer=68, texttype=5))
basic_sqrt.add(gdstk.Label('OUT_P', (47.23,10.177), layer=68, texttype=5))
basic_sqrt.add(gdstk.Label('VRC', (68.792,8.937), layer=68, texttype=5))
basic_sqrt.add(gdstk.Label('VDD', (52.32,14.307), layer=68, texttype=5))
basic_sqrt.add(gdstk.Label('GND', (58.17,6.347), layer=68, texttype=5))

lib.write_gds('BASIC_SQRT.gds')
